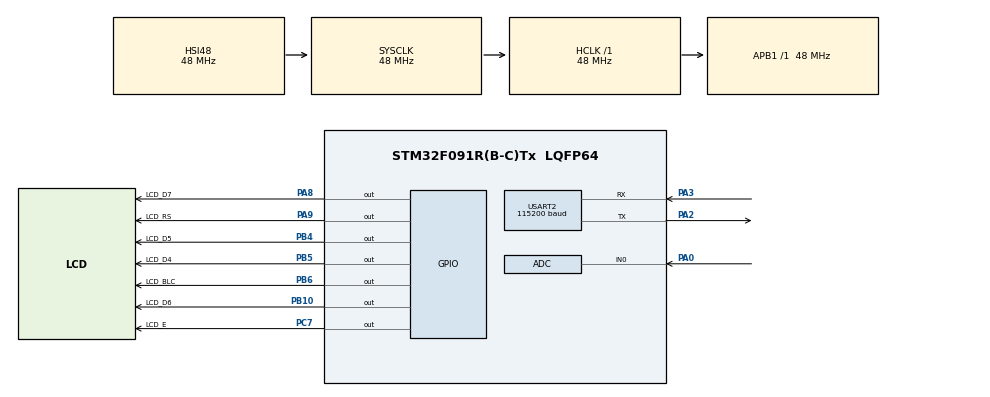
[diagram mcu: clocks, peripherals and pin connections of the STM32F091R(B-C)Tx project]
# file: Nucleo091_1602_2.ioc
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ADC.Channel-0\#ChannelRegularConversion=ADC_CHANNEL_0
ADC.Channel-IN0=ADC_CHANNEL_0
ADC.ContinuousConvMode=DISABLE
ADC.DataAlign=ADC_DATAALIGN_RIGHT
ADC.DiscontinuousConvMode=DISABLE
ADC.EnableAnalogWatchDog=false
ADC.ExternalTrigConv=ADC_SOFTWARE_START
ADC.SamplingTime-0\#ChannelRegularConversion=ADC_SAMPLETIME_1CYCLE_5
Mcu.Family=STM32F0
Mcu.Name=STM32F091R(B-C)Tx
Mcu.Package=LQFP64
PA0.Mode=IN0
PA0.Signal=ADC_IN0
PA13.Mode=Serial_Wire
PA13.Signal=SYS_SWDIO
PA14.Mode=Serial_Wire
PA14.Signal=SYS_SWCLK
PA2.Mode=Asynchronous
PA2.Signal=USART2_TX
PA3.Mode=Asynchronous
PA3.Signal=USART2_RX
PA8.GPIO_Label=LCD_D7
PA8.Signal=GPIO_Output
PA9.GPIO_Label=LCD_RS
PA9.Signal=GPIO_Output
PB10.GPIO_Label=LCD_D6
PB10.Signal=GPIO_Output
PB4.GPIO_Label=LCD_D5
PB4.Signal=GPIO_Output
PB5.GPIO_Label=LCD_D4
PB5.Signal=GPIO_Output
PB6.GPIO_Label=LCD_BLC
PB6.Signal=GPIO_Output
PB8.Signal=I2C1_SCL
PB9.Signal=I2C1_SDA
PC14OSC32_IN.Mode=LSE-External-Oscillator
PC14OSC32_IN.Signal=RCC_OSC32_IN
PC15OSC32_OUT.Mode=LSE-External-Oscillator
PC15OSC32_OUT.Signal=RCC_OSC32_OUT
PC7.GPIO_Label=LCD_E
PC7.Signal=GPIO_Output
ProjectManager.HeapSize=0x200
ProjectManager.StackSize=0x400
ProjectManager.TargetToolchain=TrueSTUDIO
RCC.AHBFreq_Value=48000000
RCC.APB1Freq_Value=48000000
RCC.APB1TimFreq_Value=48000000
RCC.HCLKFreq_Value=48000000
RCC.SYSCLKFreq_VALUE=48000000
RCC.SYSCLKSource=RCC_SYSCLKSOURCE_HSI48
USART2.BaudRate=115200
USART2.Mode=MODE_TX_RX
USART2.OverSampling=UART_OVERSAMPLING_16
USART2.Parity=PARITY_NONE
USART2.StopBits=STOPBITS_1
USART2.VirtualMode-Asynchronous=VM_ASYNC
USART2.WordLength=WORDLENGTH_8B
board=custom

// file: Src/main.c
/* USER CODE BEGIN Header */
/**
  ******************************************************************************
  * @file           : main.c
  * @brief          : Main program body
  ******************************************************************************
  * @attention
  *
  * <h2><center>&copy; Copyright (c) 2020 STMicroelectronics.
  * All rights reserved.</center></h2>
  *
  * This software component is licensed by ST under BSD 3-Clause license,
  * the "License"; You may not use this file except in compliance with the
  * License. You may obtain a copy of the License at:
  *                        opensource.org/licenses/BSD-3-Clause
  *
  ******************************************************************************
  */
/* USER CODE END Header */

#include "main.h"

/* USER CODE BEGIN Includes */
#include <stdio.h>
//#include "lcd.h"
#include "LCD_Keypad_Shield.h"
/* USER CODE END Includes */

ADC_HandleTypeDef hadc;

UART_HandleTypeDef huart2;

void SystemClock_Config(void);
static void MX_GPIO_Init(void);
static void MX_USART2_UART_Init(void);
static void MX_ADC_Init(void);

/* USER CODE BEGIN 0 */
int _write(int file, char *ptr, int len)
{

  HAL_UART_Transmit(&huart2, (uint8_t*)ptr, (uint16_t)len, 0xFFFFFFFF);

  return len;
}
/* USER CODE END 0 */

int main(void)
{
  /* USER CODE BEGIN 1 */
  char test_string0[16];
  char test_string1[16];
  char mystr1[] = "STM32 world!!\n\r";
  uint8_t i = 0;
  uint8_t hour = 12;
  uint8_t min  = 0;
  uint8_t sec  = 0;
  /* USER CODE END 1 */

  /* MCU Configuration--------------------------------------------------------*/

  /* Reset of all peripherals, Initializes the Flash interface and the Systick. */
  HAL_Init();

  /* Configure the system clock */
  SystemClock_Config();

  /* Initialize all configured peripherals */
  MX_GPIO_Init();
  MX_USART2_UART_Init();
  MX_ADC_Init();
  /* USER CODE BEGIN 2 */
  lcd_Init(16, 2);
  HAL_GPIO_WritePin(BL_GPIO_Port,BL_Pin,1);
  /* USER CODE END 2 */

  /* Infinite loop */
  while (1)
  {

    /* USER CODE BEGIN 3 */
  	HAL_UART_Transmit(&huart2, (uint8_t *)mystr1,sizeof(mystr1)/sizeof(mystr1[0]),100);

  #if 0
    for(int cnt = 0; cnt < 10; cnt++) {
      lcd_scrollDisplayLeft();
      HAL_Delay(150);
    }

    for (int cnt =0; cnt < 10; cnt++) {
      lcd_scrollDisplayRight();
      HAL_Delay(150);
    }
    HAL_Delay(1500);
  #endif

  #if 0
    for (int cnt =0; cnt < 10; cnt++) {
        lcd_scrollDisplayRight();
        HAL_Delay(150);
    }
    for(int cnt = 0; cnt < 10; cnt++) {
      lcd_scrollDisplayLeft();
      HAL_Delay(150);
    }
    HAL_Delay(1500);
  #endif

  #if 1
    sprintf(test_string0,"2020/05/16[SAT]");
    lcd_setCurStr(0, 0, test_string0);

    //sprintf(test_string1,"14:25:%02d",i);
    sprintf(test_string1,"%02d:%02d:%02d",hour, min, sec);
    if(++sec>=60)
    {
    	sec=0;
    	if(++min>=60)
    	{
    		min=0;
    		if(++hour>=24)
    			hour=0;
    	}
    }
    lcd_setCurStr(0, 1, test_string1);
    HAL_Delay(1000);
  #endif
#if 0
    if(i%2)
      GPIOB_PIN_6_RESET =1;
    else
      GPIOB_PIN_6_SET =1;
#endif
  }
  /* USER CODE END 3 */
}

void SystemClock_Config(void)
{
  RCC_OscInitTypeDef RCC_OscInitStruct = {0};
  RCC_ClkInitTypeDef RCC_ClkInitStruct = {0};
  RCC_PeriphCLKInitTypeDef PeriphClkInit = {0};

  /** Initializes the CPU, AHB and APB busses clocks
  */
  RCC_OscInitStruct.OscillatorType = RCC_OSCILLATORTYPE_HSI14|RCC_OSCILLATORTYPE_HSI48;
  RCC_OscInitStruct.HSI48State = RCC_HSI48_ON;
  RCC_OscInitStruct.HSI14State = RCC_HSI14_ON;
  RCC_OscInitStruct.HSI14CalibrationValue = 16;
  RCC_OscInitStruct.PLL.PLLState = RCC_PLL_NONE;
  if (HAL_RCC_OscConfig(&RCC_OscInitStruct) != HAL_OK)
  {
    Error_Handler();
  }
  /** Initializes the CPU, AHB and APB busses clocks
  */
  RCC_ClkInitStruct.ClockType = RCC_CLOCKTYPE_HCLK|RCC_CLOCKTYPE_SYSCLK
                              |RCC_CLOCKTYPE_PCLK1;
  RCC_ClkInitStruct.SYSCLKSource = RCC_SYSCLKSOURCE_HSI48;
  RCC_ClkInitStruct.AHBCLKDivider = RCC_SYSCLK_DIV1;
  RCC_ClkInitStruct.APB1CLKDivider = RCC_HCLK_DIV1;

  if (HAL_RCC_ClockConfig(&RCC_ClkInitStruct, FLASH_LATENCY_1) != HAL_OK)
  {
    Error_Handler();
  }
  PeriphClkInit.PeriphClockSelection = RCC_PERIPHCLK_USART2;
  PeriphClkInit.Usart2ClockSelection = RCC_USART2CLKSOURCE_PCLK1;
  if (HAL_RCCEx_PeriphCLKConfig(&PeriphClkInit) != HAL_OK)
  {
    Error_Handler();
  }
}

static void MX_ADC_Init(void)
{

  ADC_ChannelConfTypeDef sConfig = {0};

  /** Configure the global features of the ADC (Clock, Resolution, Data Alignment and number of conversion)
  */
  hadc.Instance = ADC1;
  hadc.Init.ClockPrescaler = ADC_CLOCK_ASYNC_DIV1;
  hadc.Init.Resolution = ADC_RESOLUTION_12B;
  hadc.Init.DataAlign = ADC_DATAALIGN_RIGHT;
  hadc.Init.ScanConvMode = ADC_SCAN_DIRECTION_FORWARD;
  hadc.Init.EOCSelection = ADC_EOC_SINGLE_CONV;
  hadc.Init.LowPowerAutoWait = DISABLE;
  hadc.Init.LowPowerAutoPowerOff = DISABLE;
  hadc.Init.ContinuousConvMode = DISABLE;
  hadc.Init.DiscontinuousConvMode = DISABLE;
  hadc.Init.ExternalTrigConv = ADC_SOFTWARE_START;
  hadc.Init.ExternalTrigConvEdge = ADC_EXTERNALTRIGCONVEDGE_NONE;
  hadc.Init.DMAContinuousRequests = DISABLE;
  hadc.Init.Overrun = ADC_OVR_DATA_PRESERVED;
  if (HAL_ADC_Init(&hadc) != HAL_OK)
  {
    Error_Handler();
  }
  /** Configure for the selected ADC regular channel to be converted.
  */
  sConfig.Channel = ADC_CHANNEL_0;
  sConfig.Rank = ADC_RANK_CHANNEL_NUMBER;
  sConfig.SamplingTime = ADC_SAMPLETIME_1CYCLE_5;
  if (HAL_ADC_ConfigChannel(&hadc, &sConfig) != HAL_OK)
  {
    Error_Handler();
  }

}

static void MX_USART2_UART_Init(void)
{

  huart2.Instance = USART2;
  huart2.Init.BaudRate = 115200;
  huart2.Init.WordLength = UART_WORDLENGTH_8B;
  huart2.Init.StopBits = UART_STOPBITS_1;
  huart2.Init.Parity = UART_PARITY_NONE;
  huart2.Init.Mode = UART_MODE_TX_RX;
  huart2.Init.HwFlowCtl = UART_HWCONTROL_NONE;
  huart2.Init.OverSampling = UART_OVERSAMPLING_16;
  huart2.Init.OneBitSampling = UART_ONE_BIT_SAMPLE_DISABLE;
  huart2.AdvancedInit.AdvFeatureInit = UART_ADVFEATURE_NO_INIT;
  if (HAL_UART_Init(&huart2) != HAL_OK)
  {
    Error_Handler();
  }

}

static void MX_GPIO_Init(void)
{
  GPIO_InitTypeDef GPIO_InitStruct = {0};

  /* GPIO Ports Clock Enable */
  __HAL_RCC_GPIOC_CLK_ENABLE();
  __HAL_RCC_GPIOA_CLK_ENABLE();
  __HAL_RCC_GPIOB_CLK_ENABLE();

  /*Configure GPIO pin Output Level */
  HAL_GPIO_WritePin(GPIOB, LCD_D6_Pin|LCD_D5_Pin|LCD_D4_Pin|LCD_BLC_Pin, GPIO_PIN_RESET);

  /*Configure GPIO pin Output Level */
  HAL_GPIO_WritePin(LCD_E_GPIO_Port, LCD_E_Pin, GPIO_PIN_RESET);

  /*Configure GPIO pin Output Level */
  HAL_GPIO_WritePin(GPIOA, LCD_D7_Pin|LCD_RS_Pin, GPIO_PIN_RESET);

  /*Configure GPIO pins : LCD_D6_Pin LCD_D5_Pin LCD_D4_Pin LCD_BLC_Pin */
  GPIO_InitStruct.Pin = LCD_D6_Pin|LCD_D5_Pin|LCD_D4_Pin|LCD_BLC_Pin;
  GPIO_InitStruct.Mode = GPIO_MODE_OUTPUT_PP;
  GPIO_InitStruct.Pull = GPIO_NOPULL;
  GPIO_InitStruct.Speed = GPIO_SPEED_FREQ_LOW;
  HAL_GPIO_Init(GPIOB, &GPIO_InitStruct);

  /*Configure GPIO pin : LCD_E_Pin */
  GPIO_InitStruct.Pin = LCD_E_Pin;
  GPIO_InitStruct.Mode = GPIO_MODE_OUTPUT_PP;
  GPIO_InitStruct.Pull = GPIO_NOPULL;
  GPIO_InitStruct.Speed = GPIO_SPEED_FREQ_LOW;
  HAL_GPIO_Init(LCD_E_GPIO_Port, &GPIO_InitStruct);

  /*Configure GPIO pins : LCD_D7_Pin LCD_RS_Pin */
  GPIO_InitStruct.Pin = LCD_D7_Pin|LCD_RS_Pin;
  GPIO_InitStruct.Mode = GPIO_MODE_OUTPUT_PP;
  GPIO_InitStruct.Pull = GPIO_NOPULL;
  GPIO_InitStruct.Speed = GPIO_SPEED_FREQ_LOW;
  HAL_GPIO_Init(GPIOA, &GPIO_InitStruct);

  /*Configure GPIO pins : PB8 PB9 */
  GPIO_InitStruct.Pin = GPIO_PIN_8|GPIO_PIN_9;
  GPIO_InitStruct.Mode = GPIO_MODE_AF_OD;
  GPIO_InitStruct.Pull = GPIO_PULLUP;
  GPIO_InitStruct.Speed = GPIO_SPEED_FREQ_HIGH;
  GPIO_InitStruct.Alternate = GPIO_AF1_I2C1;
  HAL_GPIO_Init(GPIOB, &GPIO_InitStruct);

}

void Error_Handler(void)
{
}

/************************ (C) COPYRIGHT STMicroelectronics *****END OF FILE****/
